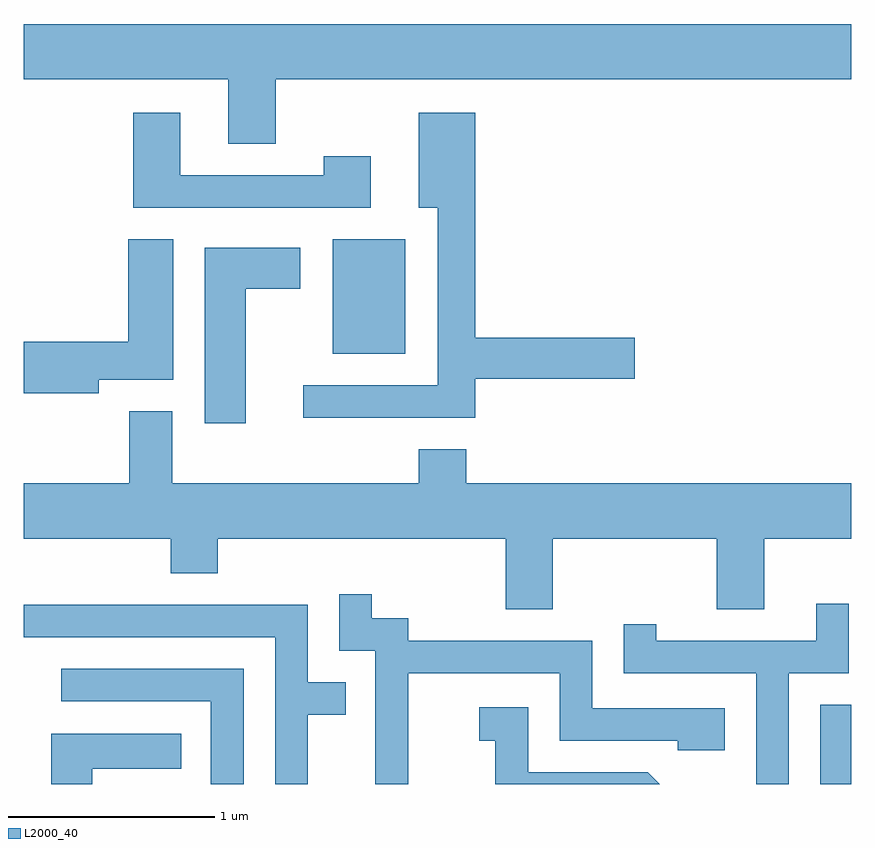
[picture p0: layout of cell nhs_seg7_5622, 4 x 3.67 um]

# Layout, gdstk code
import gdstk
lib = gdstk.Library(unit=1e-6, precision=1e-09)
def R(c, l, rs):  # rectangles x0, y0, x1, y1
    for r in rs: c.add(gdstk.rectangle(r[:2], r[2:], *l))
def P(c, l, *ps):  # polygons
    for p in ps: c.add(gdstk.Polygon(p, *l))
L2000_40 = (2000, 40)

nhs_seg7_5622 = lib.new_cell('nhs_seg7_5622')
R(nhs_seg7_5622, L2000_40, [(361.461,1704.252,361.611,1704.634), (359.106,1706.331,359.454,1706.884)])
P(nhs_seg7_5622, L2000_40, [(358.829,1707.656),(361.611,1707.656),(361.611,1707.924),(357.611,1707.924),(357.611,1707.656),(358.601,1707.656),(358.601,1707.346),(358.829,1707.346)],
  [(359.794,1706.211),(360.564,1706.211),(360.564,1706.409),(359.794,1706.409),(359.794,1707.494),(359.521,1707.494),(359.521,1707.036),(359.611,1707.036),(359.611,1706.179),(358.963,1706.179),(358.963,1706.021),(359.794,1706.021)],
  [(359.289,1707.284),(359.061,1707.284),(359.061,1707.194),(358.369,1707.194),(358.369,1707.494),(358.141,1707.494),(358.141,1707.036),(359.289,1707.036)],
  [(357.974,1706.206),(358.334,1706.206),(358.334,1706.884),(358.116,1706.884),(358.116,1706.389),(357.611,1706.389),(357.611,1706.141),(357.974,1706.141)],
  [(358.684,1706.646),(358.949,1706.646),(358.949,1706.844),(358.486,1706.844),(358.486,1705.996),(358.684,1705.996)],
  [(359.521,1705.869),(359.521,1705.704),(358.329,1705.704),(358.329,1706.054),(358.121,1706.054),(358.121,1705.704),(357.611,1705.704),(357.611,1705.436),(358.321,1705.436),(358.321,1705.271),(358.549,1705.271),(358.549,1705.436),(359.941,1705.436),(359.941,1705.096),(360.169,1705.096),(360.169,1705.436),(360.961,1705.436),(360.961,1705.096),(361.189,1705.096),(361.189,1705.436),(361.611,1705.436),(361.611,1705.704),(359.749,1705.704),(359.749,1705.869)],
  [(359.469,1704.786),(360.201,1704.786),(360.201,1704.461),(360.771,1704.461),(360.771,1704.416),(360.999,1704.416),(360.999,1704.619),(360.359,1704.619),(360.359,1704.944),(359.469,1704.944),(359.469,1705.054),(359.294,1705.054),(359.294,1705.168),(359.136,1705.168),(359.136,1704.896),(359.311,1704.896),(359.311,1704.252),(359.469,1704.252)],
  [(361.309,1704.786),(361.599,1704.786),(361.599,1705.123),(361.441,1705.123),(361.441,1704.944),(360.669,1704.944),(360.669,1705.023),(360.511,1705.023),(360.511,1704.786),(361.151,1704.786),(361.151,1704.252),(361.309,1704.252)],
  [(358.984,1704.586),(359.168,1704.586),(359.168,1704.744),(358.984,1704.744),(358.984,1705.119),(357.611,1705.119),(357.611,1704.961),(358.826,1704.961),(358.826,1704.252),(358.984,1704.252)],
  [(358.674,1704.809),(357.793,1704.809),(357.793,1704.651),(358.516,1704.651),(358.516,1704.252),(358.674,1704.252)],
  [(360.627,1704.309),(360.049,1704.309),(360.049,1704.624),(359.813,1704.624),(359.813,1704.461),(359.891,1704.461),(359.891,1704.252),(360.684,1704.252)],
  [(357.944,1704.326),(358.373,1704.326),(358.373,1704.494),(357.746,1704.494),(357.746,1704.252),(357.944,1704.252)])

lib.write_gds('nhs_seg7_5622.gds')
